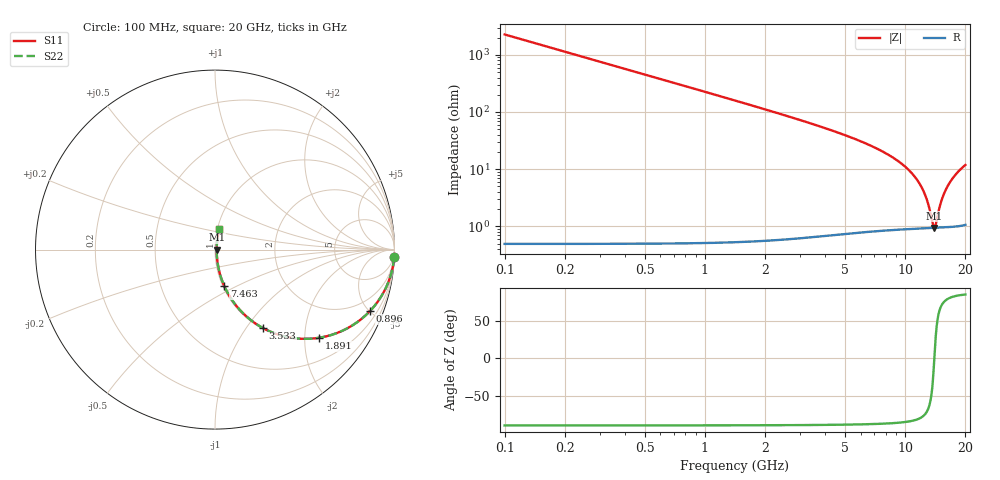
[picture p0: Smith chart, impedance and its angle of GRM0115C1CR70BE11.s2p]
!Murata Part Number: GRM0115C1CR70BE11
!These Parameters are Measured in Series Mode Connection
!Data Generated on Mar 30, 2021
!  o--ll--o
!Port1  Port2
!  o------o
!Operation Temp=25[degC], DC Bias Voltage=0[V]
!Freq. Start=100[MHz] Stop=20[GHz] 401[Steps]
# Hz S RI R 50
!Freq.(Hz) S11(Real) S11(Imag) S21(Real) S21(Imag) S12(Real) S12(Imag) S22(Real) S22(Imag)
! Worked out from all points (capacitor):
!   401 points, 100 MHz to 20 GHz, reference 50 ohm
!   read as one part in series: C = 700 fF near 199.5 MHz
!   lowest |Z| = 940 mohm at 13.98 GHz (marker M1)
!   series resonance near 13.99 GHz, so ESL is about 180 pH
!   S11 on the Smith chart (normalised r, x): 100 MHz: 1, -45; 896 MHz: 1.01, -5.05; 1.891 GHz: 1.01, -2.36; 3.533 GHz: 1.01, -1.20; 7.463 GHz: 1.02, -0.43; 20 GHz: 1.02, +0.24
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1e8  0.9981 -0.0439  0.00194 0.0439  0.00194 0.0439  0.9981 -0.0439
2.99e8  0.9829 -0.1293  0.0171 0.1293  0.0171 0.1293  0.9829 -0.1293
3.985e8  0.97 -0.1701  0.03 0.1701  0.03 0.1701  0.97 -0.1701
5.975e8  0.9349 -0.2461  0.0651 0.2461  0.0651 0.2461  0.9349 -0.2461
8.96e8  0.8641 -0.3417  0.1359 0.3417  0.1359 0.3417  0.8641 -0.3417
1.891e9  0.5812 -0.491  0.4188 0.491  0.4188 0.491  0.5812 -0.491
3.43325e9  0.2801 -0.4439  0.7199 0.4439  0.7199 0.4439  0.2801 -0.4439
3.53275e9  0.2674 -0.4372  0.7326 0.4372  0.7326 0.4372  0.2674 -0.4372
4.92575e9  0.144 -0.3421  0.856 0.3421  0.856 0.3421  0.144 -0.3421
6.7665e9  0.0681 -0.2366  0.9319 0.2366  0.9319 0.2366  0.0681 -0.2366
7.463e9  0.052 -0.2037  0.948 0.2037  0.948 0.2037  0.052 -0.2037
1.005e10  0.0202 -0.1056  0.9798 0.1056  0.9798 0.1056  0.0202 -0.1056
1.21395e10  0.0112 -0.0451  0.9888 0.0451  0.9888 0.0451  0.0112 -0.0451
1.2836e10  0.00994 -0.0274  0.9901 0.0274  0.9901 0.0274  0.00994 -0.0274
1.338325e10  0.00945 -0.0141  0.9906 0.0141  0.9906 0.0141  0.00945 -0.0141
1.378125e10  0.00931 -0.00484  0.9907 0.00484  0.9907 0.00484  0.00931 -0.00484
1.398025e10  0.00931 -0.0003  0.9907 0.0003  0.9907 0.0003  0.00931 -0.0003
1.417925e10  0.00935 0.00418  0.9907 -0.00418  0.9907 -0.00418  0.00935 0.00418
1.4826e10  0.00974 0.0183  0.9903 -0.0183  0.9903 -0.0183  0.00974 0.0183
1.53235e10  0.0103 0.0288  0.9897 -0.0288  0.9897 -0.0288  0.0103 0.0288
1.67165e10  0.0129 0.0565  0.9871 -0.0565  0.9871 -0.0565  0.0129 0.0565
2e10  0.0239 0.1142  0.9761 -0.1142  0.9761 -0.1142  0.0239 0.1142
